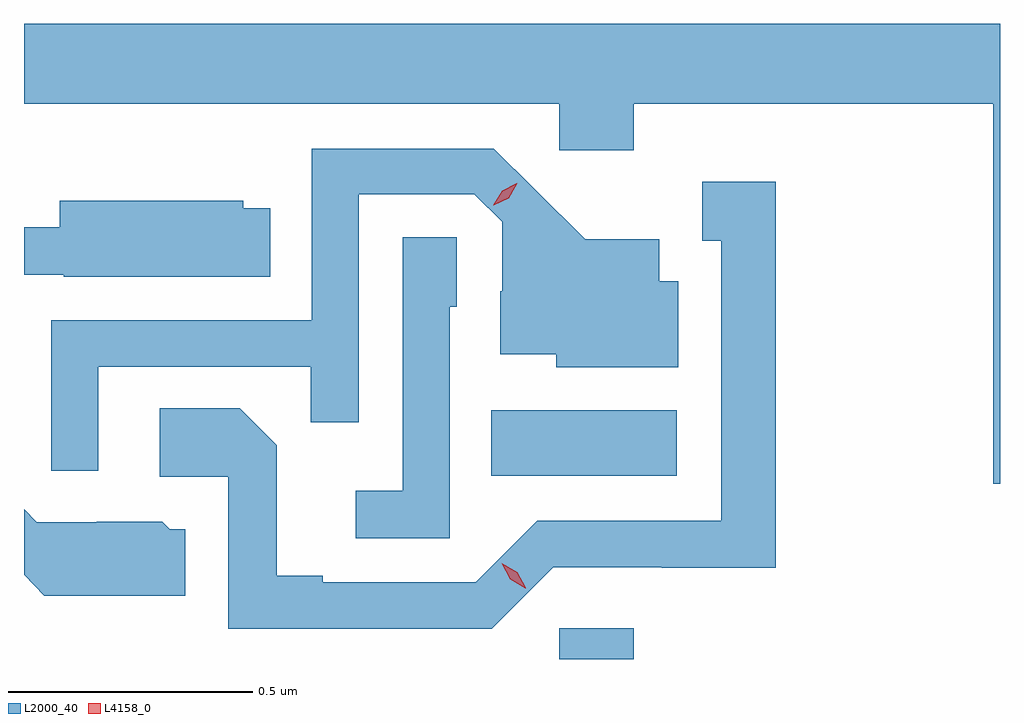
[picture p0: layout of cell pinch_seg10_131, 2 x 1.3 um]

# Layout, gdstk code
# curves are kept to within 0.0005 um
import gdstk
lib = gdstk.Library(unit=1e-6, precision=1e-09)
def R(c, l, rs):  # rectangles x0, y0, x1, y1
    for r in rs: c.add(gdstk.rectangle(r[:2], r[2:], *l))
def P(c, l, *ps):  # polygons
    for p in ps: c.add(gdstk.Polygon(p, *l))
L2000_40 = (2000, 40)
L4158_0 = (4158, 0)

pinch_seg10_131 = lib.new_cell('pinch_seg10_131')
R(pinch_seg10_131, L2000_40, [(715.152,1283.194,715.304,1283.257), (715.012,1283.57,715.393,1283.704)])
P(pinch_seg10_131, L2000_40, [(714.055,1284.332),(715.152,1284.332),(715.152,1284.237),(715.304,1284.237),(715.304,1284.332),(716.041,1284.332),(716.041,1283.553),(716.055,1283.553),(716.055,1284.496),(714.055,1284.496)],
  [(714.207,1283.793),(714.643,1283.793),(714.643,1283.68),(714.741,1283.68),(714.741,1284.147),(714.978,1284.147),(715.035,1284.09),(715.035,1283.948),(715.031,1283.948),(715.031,1283.819),(715.146,1283.819),(715.146,1283.792),(715.396,1283.792),(715.396,1283.968),(715.357,1283.968),(715.357,1284.055),(715.205,1284.055),(715.018,1284.24),(714.645,1284.24),(714.645,1283.889),(714.111,1283.889),(714.111,1283.58),(714.207,1283.58)],
  [(715.14,1283.382),(715.362,1283.382),(715.362,1283.381),(715.595,1283.381),(715.595,1284.172),(715.445,1284.172),(715.445,1284.051),(715.484,1284.051),(715.484,1283.478),(715.107,1283.478),(714.981,1283.352),(714.667,1283.352),(714.667,1283.365),(714.573,1283.365),(714.573,1283.632),(714.497,1283.708),(714.333,1283.708),(714.333,1283.568),(714.474,1283.568),(714.474,1283.256),(715.014,1283.256)],
  [(714.56,1284.118),(714.504,1284.118),(714.504,1284.133),(714.128,1284.133),(714.128,1284.079),(714.055,1284.079),(714.055,1283.982),(714.136,1283.982),(714.136,1283.978),(714.56,1283.978)],
  [(714.927,1283.916),(714.942,1283.916),(714.942,1284.059),(714.831,1284.059),(714.831,1283.539),(714.735,1283.539),(714.735,1283.442),(714.927,1283.442)],
  [(714.385,1283.46),(714.354,1283.46),(714.338,1283.476),(714.204,1283.476),(714.204,1283.475),(714.081,1283.475),(714.055,1283.501),(714.055,1283.367),(714.097,1283.324),(714.385,1283.324)])
P(pinch_seg10_131, L4158_0, [(715.082,1283.339),(715.051,1283.358),(715.034,1283.391),(715.034,1283.391),(715.034,1283.391),(715.066,1283.372),(715.083,1283.34),(715.083,1283.339)],
  [(715.017,1284.124),(715.017,1284.124),(715.035,1284.154),(715.065,1284.169),(715.066,1284.169),(715.066,1284.169),(715.048,1284.139),(715.018,1284.124)])

lib.write_gds('pinch_seg10_131.gds')
